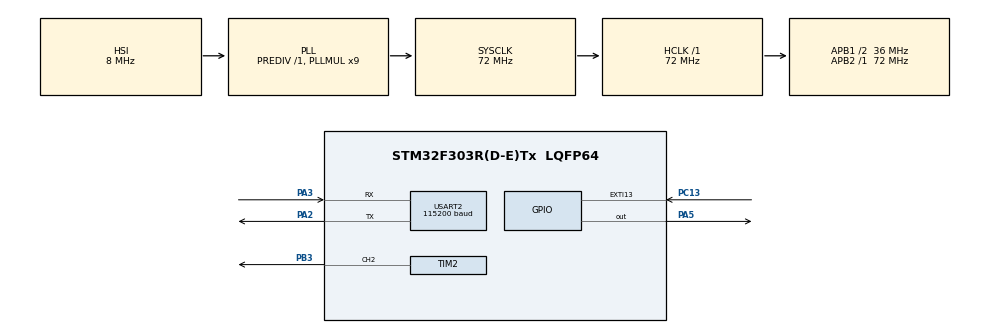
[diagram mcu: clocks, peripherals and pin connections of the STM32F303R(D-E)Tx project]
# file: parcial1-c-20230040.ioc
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Mcu.Family=STM32F3
Mcu.Name=STM32F303R(D-E)Tx
Mcu.Package=LQFP64
NVIC.EXTI15_10_IRQn=true\:0\:0\:false\:false\:true\:true\:true\:true
NVIC.PriorityGroup=NVIC_PRIORITYGROUP_4
NVIC.TIM4_IRQn=true\:0\:0\:false\:false\:true\:true\:true\:true
NVIC.USART2_IRQn=true\:0\:0\:false\:false\:true\:true\:true\:true
PA2.Mode=Asynchronous
PA2.Signal=USART2_TX
PA3.Mode=Asynchronous
PA3.Signal=USART2_RX
PA5.Signal=GPIO_Output
PB3.Signal=S_TIM2_CH2
PC13.GPIO_ModeDefaultEXTI=GPIO_MODE_IT_RISING_FALLING
PC13.Signal=GPXTI13
ProjectManager.HeapSize=0x200
ProjectManager.StackSize=0x400
ProjectManager.TargetToolchain=STM32CubeIDE
RCC.AHBFreq_Value=72000000
RCC.APB1CLKDivider=RCC_HCLK_DIV2
RCC.APB1Freq_Value=36000000
RCC.APB1TimFreq_Value=72000000
RCC.APB2Freq_Value=72000000
RCC.APB2TimFreq_Value=72000000
RCC.CortexFreq_Value=72000000
RCC.HCLKFreq_Value=72000000
RCC.HSE_VALUE=8000000
RCC.HSI_VALUE=8000000
RCC.LSE_VALUE=32768
RCC.PLLMUL=RCC_PLL_MUL9
RCC.SYSCLKFreq_VALUE=72000000
RCC.SYSCLKSourceVirtual=RCC_SYSCLKSOURCE_PLLCLK
RCC.USBFreq_Value=72000000
SH.S_TIM2_CH2.0=TIM2_CH2,PWM Generation2 CH2
TIM2.Channel-PWM\ Generation2\ CH2=TIM_CHANNEL_2
TIM2.Period=999
TIM2.Prescaler=71
TIM2.Pulse-PWM\ Generation2\ CH2=250
TIM4.Period=999
TIM4.Prescaler=71
USART2.BaudRate=115200
USART2.VirtualMode-Asynchronous=VM_ASYNC
VP_TIM2_VS_ClockSourceINT.Mode=Internal
VP_TIM4_VS_ClockSourceINT.Mode=Internal
board=custom

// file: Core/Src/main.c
/* USER CODE BEGIN Header */
/**
 ******************************************************************************
 * @file           : main.c
 * @brief          : Main program body
 ******************************************************************************
 * @attention
 *
 * Copyright (c) 2026 STMicroelectronics.
 * All rights reserved.
 *
 * This software is licensed under terms that can be found in the LICENSE file
 * in the root directory of this software component.
 * If no LICENSE file comes with this software, it is provided AS-IS.
 *
 ******************************************************************************
 */
/* USER CODE END Header */
#include "main.h"

/* USER CODE BEGIN Includes */
#include <stdio.h>
#include <string.h>
/* USER CODE END Includes */

/* USER CODE BEGIN PD */
#define MODO_MANUAL 0
#define MODO_AUTO   1
#define MODO_PAUSA  2

#define RX_TAM    128   // tamano del buffer circular de entrada
#define TX_TAM    512   // tamano del buffer circular de salida
#define LINEA_MAX 63    // maximo de caracteres por linea

// valor con el que arranca g_ms. Para la prueba de desbordamiento
// poner 0xFFFFFF00 (da la vuelta a los 256 ms). Normal = 0
#define G_MS_INICIAL 0
/* USER CODE END PD */

TIM_HandleTypeDef htim2;
TIM_HandleTypeDef htim4;

UART_HandleTypeDef huart2;

/* USER CODE BEGIN PV */
volatile uint32_t g_ms = G_MS_INICIAL;
volatile uint32_t g_flanco = 0;   // la ISR lo pone en 1 cuando el botón cambia

uint32_t boton_estable = 0;       // 1 = presionado, 0 = suelto (ya confirmado)
uint32_t cuenta_cambio = 0; // ms que lleva la lectura distinta del estado confirmado
uint32_t ms_presionado = 0;
uint32_t larga_contada = 0;
uint32_t cont_cortas = 0;
uint32_t cont_largas = 0;

uint32_t modo = MODO_MANUAL;
uint32_t modo_previo = MODO_MANUAL;   // a donde vuelvo al salir de pausa
uint32_t duty_manual = 25;            // ultimo duty manual guardado
uint32_t duty = 25;                   // duty que se esta aplicando
uint32_t subiendo = 1;
uint32_t ms_rampa = 0;
uint32_t ms_led = 0;
uint32_t evento_corta = 0;            // las pone el boton, las consume main
uint32_t evento_larga = 0;

// uart: buffer circular de entrada
uint8_t rx_buf[RX_TAM];
volatile uint32_t rx_head = 0;        // donde escribe la ISR
volatile uint32_t rx_tail = 0;        // donde lee main
uint8_t rx_byte;                      // aqui llega cada caracter
uint32_t rx_total = 0;                // caracteres recibidos
uint32_t rx_errores = 0;              // errores de la uart
uint32_t rx_overflow = 0;             // veces que se lleno el buffer

// uart: buffer circular de salida
uint8_t tx_buf[TX_TAM];
volatile uint32_t tx_head = 0;        // donde escribe main
volatile uint32_t tx_tail = 0;        // donde lee la ISR
volatile uint32_t tx_len = 0;         // tamano del bloque que se esta mandando
volatile uint32_t tx_enviando = 0;    // 1 = hay un bloque saliendo
uint32_t tx_perdidos = 0;             // caracteres descartados por buffer lleno

// uart: linea que se esta armando
char linea[LINEA_MAX + 1];            // +1 para el '\0'
uint32_t linea_len = 0;               // cuantos caracteres lleva
uint32_t descartando = 0;            // 1 = linea muy larga, ignoro hasta el fin
uint32_t err_overflow = 0;            // lineas que se pasaron de 63

// comandos y telemetria
uint32_t stream_activo = 0;           // 1 = manda telemetria cada 1000 ms
uint32_t ms_stream = 0;
uint32_t ms_uptime = 0;
uint32_t uptime_s = 0;                // segundos desde el arranque
/* USER CODE END PV */

void SystemClock_Config(void);
static void MX_GPIO_Init(void);
static void MX_TIM4_Init(void);
static void MX_TIM2_Init(void);
static void MX_USART2_UART_Init(void);
/* USER CODE BEGIN PFP */
void pwm_set_duty(uint32_t duty_pct);
void boton_actualizar(void);
uint32_t tomar_flanco(void);
void cambiar_modo(uint32_t nuevo);
void entrar_pausa(void);
void salir_pausa(void);
uint32_t rx_leer(uint8_t *c);
uint32_t armar_linea(uint8_t c);
void tx_iniciar(void);
void enviar(const char *texto);
void enviar_telemetria(void);
uint32_t leer_numero(const char *s, uint32_t *valor);
void procesar_linea(void);
/* USER CODE END PFP */

int main(void) {

	/* MCU Configuration--------------------------------------------------------*/

	/* Reset of all peripherals, Initializes the Flash interface and the Systick. */
	HAL_Init();

	/* Configure the system clock */
	SystemClock_Config();

	/* Initialize all configured peripherals */
	MX_GPIO_Init();
	MX_TIM4_Init();
	MX_TIM2_Init();
	MX_USART2_UART_Init();
	/* USER CODE BEGIN 2 */
	HAL_TIM_PWM_Start(&htim2, TIM_CHANNEL_2);
	HAL_TIM_Base_Start_IT(&htim4);
	HAL_UART_Receive_IT(&huart2, &rx_byte, 1);   // empieza a escuchar 1 byte

	uint32_t h_tick = g_ms;

	pwm_set_duty(duty);

	enviar("Consola lista. Escribe HELP\r\n");
	/* USER CODE END 2 */

	/* Infinite loop */
	while (1) {

		/* USER CODE BEGIN 3 */

		// Bloque que corre una vez por cada ms
		if ((uint32_t) (g_ms - h_tick) >= 1U) {
			h_tick = h_tick + 1U;

			boton_actualizar();

			// pulsacion corta
			if (evento_corta == 1) {
				evento_corta = 0;
				if (modo == MODO_MANUAL) {
					cambiar_modo(MODO_AUTO);
				} else if (modo == MODO_AUTO) {
					cambiar_modo(MODO_MANUAL);
				}
				// en pausa se ignora
			}

			// pulsacion larga
			if (evento_larga == 1) {
				evento_larga = 0;
				if (modo == MODO_PAUSA) {
					salir_pausa();
				} else {
					entrar_pausa();
				}
			}

			// rampa, solo en AUTO
			if (modo == MODO_AUTO) {
				ms_rampa++;
				if (ms_rampa >= 20) {
					ms_rampa = 0;

					if (subiendo == 1) {
						duty = duty + 1;
						if (duty == 90) {
							subiendo = 0;
						}
					} else {
						duty = duty - 1;
						if (duty == 10) {
							subiendo = 1;
						}
					}
					pwm_set_duty(duty);
				}
			}

			// LED de estado
			ms_led++;
			if (modo == MODO_MANUAL) {
				HAL_GPIO_WritePin(GPIOA, GPIO_PIN_5, GPIO_PIN_SET);
			} else if (modo == MODO_AUTO) {
				if (ms_led >= 500) {
					ms_led = 0;
					HAL_GPIO_TogglePin(GPIOA, GPIO_PIN_5);
				}
			} else {
				if (ms_led >= 125) {
					ms_led = 0;
					HAL_GPIO_TogglePin(GPIOA, GPIO_PIN_5);
				}
			}

			// uptime: sube 1 segundo cada 1000 ms
			ms_uptime++;
			if (ms_uptime >= 1000) {
				ms_uptime = 0;
				uptime_s++;
			}

			// telemetria cada 1000 ms (solo si esta activada)
			ms_stream++;
			if (ms_stream >= 1000) {
				ms_stream = 0;
				if (stream_activo == 1) {
					enviar_telemetria();
				}
			}
		}

		// uart: leer lo que llego y armar lineas
		uint8_t c;
		while (rx_leer(&c) == 1) {
			uint32_t r = armar_linea(c);

			if (r == 1) {
				procesar_linea();   // linea completa: ejecuta el comando
			} else if (r == 2) {
				enviar("ERR OVERFLOW\r\n");
			}
		}
	}
	/* USER CODE END 3 */
}

void SystemClock_Config(void) {
	RCC_OscInitTypeDef RCC_OscInitStruct = { 0 };
	RCC_ClkInitTypeDef RCC_ClkInitStruct = { 0 };
	RCC_PeriphCLKInitTypeDef PeriphClkInit = { 0 };

	/** Initializes the RCC Oscillators according to the specified parameters
	 * in the RCC_OscInitTypeDef structure.
	 */
	RCC_OscInitStruct.OscillatorType = RCC_OSCILLATORTYPE_HSI;
	RCC_OscInitStruct.HSIState = RCC_HSI_ON;
	RCC_OscInitStruct.HSICalibrationValue = RCC_HSICALIBRATION_DEFAULT;
	RCC_OscInitStruct.PLL.PLLState = RCC_PLL_ON;
	RCC_OscInitStruct.PLL.PLLSource = RCC_PLLSOURCE_HSI;
	RCC_OscInitStruct.PLL.PLLMUL = RCC_PLL_MUL9;
	RCC_OscInitStruct.PLL.PREDIV = RCC_PREDIV_DIV1;
	if (HAL_RCC_OscConfig(&RCC_OscInitStruct) != HAL_OK) {
		Error_Handler();
	}

	/** Initializes the CPU, AHB and APB buses clocks
	 */
	RCC_ClkInitStruct.ClockType = RCC_CLOCKTYPE_HCLK | RCC_CLOCKTYPE_SYSCLK
			| RCC_CLOCKTYPE_PCLK1 | RCC_CLOCKTYPE_PCLK2;
	RCC_ClkInitStruct.SYSCLKSource = RCC_SYSCLKSOURCE_PLLCLK;
	RCC_ClkInitStruct.AHBCLKDivider = RCC_SYSCLK_DIV1;
	RCC_ClkInitStruct.APB1CLKDivider = RCC_HCLK_DIV2;
	RCC_ClkInitStruct.APB2CLKDivider = RCC_HCLK_DIV1;

	if (HAL_RCC_ClockConfig(&RCC_ClkInitStruct, FLASH_LATENCY_2) != HAL_OK) {
		Error_Handler();
	}
	PeriphClkInit.PeriphClockSelection = RCC_PERIPHCLK_USART2
			| RCC_PERIPHCLK_TIM2 | RCC_PERIPHCLK_TIM34;
	PeriphClkInit.Usart2ClockSelection = RCC_USART2CLKSOURCE_PCLK1;
	PeriphClkInit.Tim2ClockSelection = RCC_TIM2CLK_HCLK;
	PeriphClkInit.Tim34ClockSelection = RCC_TIM34CLK_HCLK;
	if (HAL_RCCEx_PeriphCLKConfig(&PeriphClkInit) != HAL_OK) {
		Error_Handler();
	}
}

static void MX_TIM2_Init(void) {

	TIM_ClockConfigTypeDef sClockSourceConfig = { 0 };
	TIM_MasterConfigTypeDef sMasterConfig = { 0 };
	TIM_OC_InitTypeDef sConfigOC = { 0 };

	htim2.Instance = TIM2;
	htim2.Init.Prescaler = 71;
	htim2.Init.CounterMode = TIM_COUNTERMODE_UP;
	htim2.Init.Period = 999;
	htim2.Init.ClockDivision = TIM_CLOCKDIVISION_DIV1;
	htim2.Init.AutoReloadPreload = TIM_AUTORELOAD_PRELOAD_DISABLE;
	if (HAL_TIM_Base_Init(&htim2) != HAL_OK) {
		Error_Handler();
	}
	sClockSourceConfig.ClockSource = TIM_CLOCKSOURCE_INTERNAL;
	if (HAL_TIM_ConfigClockSource(&htim2, &sClockSourceConfig) != HAL_OK) {
		Error_Handler();
	}
	if (HAL_TIM_PWM_Init(&htim2) != HAL_OK) {
		Error_Handler();
	}
	sMasterConfig.MasterOutputTrigger = TIM_TRGO_RESET;
	sMasterConfig.MasterSlaveMode = TIM_MASTERSLAVEMODE_DISABLE;
	if (HAL_TIMEx_MasterConfigSynchronization(&htim2, &sMasterConfig)
			!= HAL_OK) {
		Error_Handler();
	}
	sConfigOC.OCMode = TIM_OCMODE_PWM1;
	sConfigOC.Pulse = 250;
	sConfigOC.OCPolarity = TIM_OCPOLARITY_HIGH;
	sConfigOC.OCFastMode = TIM_OCFAST_DISABLE;
	if (HAL_TIM_PWM_ConfigChannel(&htim2, &sConfigOC, TIM_CHANNEL_2)
			!= HAL_OK) {
		Error_Handler();
	}
	HAL_TIM_MspPostInit(&htim2);

}

static void MX_TIM4_Init(void) {

	TIM_ClockConfigTypeDef sClockSourceConfig = { 0 };
	TIM_MasterConfigTypeDef sMasterConfig = { 0 };

	htim4.Instance = TIM4;
	htim4.Init.Prescaler = 71;
	htim4.Init.CounterMode = TIM_COUNTERMODE_UP;
	htim4.Init.Period = 999;
	htim4.Init.ClockDivision = TIM_CLOCKDIVISION_DIV1;
	htim4.Init.AutoReloadPreload = TIM_AUTORELOAD_PRELOAD_DISABLE;
	if (HAL_TIM_Base_Init(&htim4) != HAL_OK) {
		Error_Handler();
	}
	sClockSourceConfig.ClockSource = TIM_CLOCKSOURCE_INTERNAL;
	if (HAL_TIM_ConfigClockSource(&htim4, &sClockSourceConfig) != HAL_OK) {
		Error_Handler();
	}
	sMasterConfig.MasterOutputTrigger = TIM_TRGO_RESET;
	sMasterConfig.MasterSlaveMode = TIM_MASTERSLAVEMODE_DISABLE;
	if (HAL_TIMEx_MasterConfigSynchronization(&htim4, &sMasterConfig)
			!= HAL_OK) {
		Error_Handler();
	}

}

static void MX_USART2_UART_Init(void) {

	huart2.Instance = USART2;
	huart2.Init.BaudRate = 115200;
	huart2.Init.WordLength = UART_WORDLENGTH_8B;
	huart2.Init.StopBits = UART_STOPBITS_1;
	huart2.Init.Parity = UART_PARITY_NONE;
	huart2.Init.Mode = UART_MODE_TX_RX;
	huart2.Init.HwFlowCtl = UART_HWCONTROL_NONE;
	huart2.Init.OverSampling = UART_OVERSAMPLING_16;
	huart2.Init.OneBitSampling = UART_ONE_BIT_SAMPLE_DISABLE;
	huart2.AdvancedInit.AdvFeatureInit = UART_ADVFEATURE_NO_INIT;
	if (HAL_UART_Init(&huart2) != HAL_OK) {
		Error_Handler();
	}

}

static void MX_GPIO_Init(void) {
	GPIO_InitTypeDef GPIO_InitStruct = { 0 };

	/* GPIO Ports Clock Enable */
	__HAL_RCC_GPIOC_CLK_ENABLE();
	__HAL_RCC_GPIOA_CLK_ENABLE();
	__HAL_RCC_GPIOB_CLK_ENABLE();

	/*Configure GPIO pin Output Level */
	HAL_GPIO_WritePin(GPIOA, GPIO_PIN_5, GPIO_PIN_RESET);

	/*Configure GPIO pin : PC13 */
	GPIO_InitStruct.Pin = GPIO_PIN_13;
	GPIO_InitStruct.Mode = GPIO_MODE_IT_RISING_FALLING;
	GPIO_InitStruct.Pull = GPIO_NOPULL;
	HAL_GPIO_Init(GPIOC, &GPIO_InitStruct);

	/*Configure GPIO pin : PA5 */
	GPIO_InitStruct.Pin = GPIO_PIN_5;
	GPIO_InitStruct.Mode = GPIO_MODE_OUTPUT_PP;
	GPIO_InitStruct.Pull = GPIO_NOPULL;
	GPIO_InitStruct.Speed = GPIO_SPEED_FREQ_LOW;
	HAL_GPIO_Init(GPIOA, &GPIO_InitStruct);

	/* EXTI interrupt init*/
	HAL_NVIC_SetPriority(EXTI15_10_IRQn, 0, 0);
	HAL_NVIC_EnableIRQ(EXTI15_10_IRQn);

}

/* USER CODE BEGIN 4 */
// Cambia el brillo del LED. duty_pct es un número de 0 a 100
void pwm_set_duty(uint32_t duty_pct) {

	uint32_t arr = __HAL_TIM_GET_AUTORELOAD(&htim2);

	uint32_t cuentas_totales = arr + 1;

	uint32_t cuentas_en_alto = (duty_pct * cuentas_totales) / 100;

	__HAL_TIM_SET_COMPARE(&htim2, TIM_CHANNEL_2, cuentas_en_alto);
}

// Entra a un modo desde cero (no sirve para salir de pausa)
void cambiar_modo(uint32_t nuevo) {
	modo = nuevo;
	ms_led = 0;

	if (nuevo == MODO_MANUAL) {
		duty = duty_manual;
		pwm_set_duty(duty);
	} else if (nuevo == MODO_AUTO) {
		duty = 10;
		subiendo = 1;
		ms_rampa = 0;
		pwm_set_duty(duty);
	} else {
		pwm_set_duty(0);
	}
}

// Pausa: guarda el modo y apaga el pwm. duty y subiendo no se tocan
void entrar_pausa(void) {
	modo_previo = modo;
	cambiar_modo(MODO_PAUSA);
}

// Sale de pausa sin reiniciar nada (por eso no uso cambiar_modo)
void salir_pausa(void) {
	modo = modo_previo;
	pwm_set_duty(duty);
	ms_led = 0;
}

// ISR del boton
void HAL_GPIO_EXTI_Callback(uint16_t GPIO_Pin) {
	if (GPIO_Pin == GPIO_PIN_13) {
		g_flanco = 1;
	}
}

// Lee la nota y la borra sin que la ISR se meta en medio
uint32_t tomar_flanco(void) {
	__disable_irq();
	uint32_t hubo = g_flanco;
	g_flanco = 0;
	__enable_irq();
	return hubo;
}

// Se llama una vez por ms
void boton_actualizar(void) {
	// 1 = presionado (en el micro presionado lee 0)
	uint32_t lectura = (HAL_GPIO_ReadPin(GPIOC, GPIO_PIN_13) == GPIO_PIN_RESET);

	// Si hubo un flanco, reinicia la espera de 30 ms
	if (tomar_flanco() == 1) {
		cuenta_cambio = 0;
	}

	// Antirrebote
	if (lectura == boton_estable) {
		cuenta_cambio = 0;
	} else {
		cuenta_cambio++;
		if (cuenta_cambio >= 30) {
			cuenta_cambio = 0;
			boton_estable = lectura;

			if (boton_estable == 1)          // pulsacion confirmada
					{
				ms_presionado = 0;
				larga_contada = 0;
			} else if (larga_contada == 0) // pulsacion soltadada confirmada, sin larga previa
					{
				cont_cortas++;
				evento_corta = 1;
			}
		}
	}

	// Pulsacion larga
	if (boton_estable == 1) {
		ms_presionado++;
		if (ms_presionado >= 1500 && larga_contada == 0) {
			larga_contada = 1;
			cont_largas++;
			evento_larga = 1;
		}
	}
}

// Se llama sola cada 1 ms
void HAL_TIM_PeriodElapsedCallback(TIM_HandleTypeDef *htim) {
	if (htim->Instance == TIM4) {
		g_ms = g_ms + 1;
	}
}

// ISR de la uart: llego un byte
void HAL_UART_RxCpltCallback(UART_HandleTypeDef *huart) {
	if (huart->Instance == USART2) {
		uint32_t siguiente = (rx_head + 1) % RX_TAM;

		if (siguiente == rx_tail) {
			rx_overflow++;   // buffer lleno, se pierde el byte
		} else {
			rx_buf[rx_head] = rx_byte;
			rx_head = siguiente;
			rx_total++;
		}
		HAL_UART_Receive_IT(&huart2, &rx_byte, 1);   // listo para el siguiente
	}
}

// Si la uart tiene un error (por ejemplo overrun)
void HAL_UART_ErrorCallback(UART_HandleTypeDef *huart) {
	if (huart->Instance == USART2) {
		rx_errores++;
		HAL_UART_Receive_IT(&huart2, &rx_byte, 1);   // volver a escuchar
	}
}

// ISR de la uart: termino de salir un bloque
void HAL_UART_TxCpltCallback(UART_HandleTypeDef *huart) {
	if (huart->Instance == USART2) {
		tx_tail = (tx_tail + tx_len) % TX_TAM;   // ese bloque ya salio
		tx_enviando = 0;
		tx_iniciar();                            // si queda algo, lo manda
	}
}

// Saca un byte del buffer. Devuelve 1 si habia, 0 si estaba vacio
uint32_t rx_leer(uint8_t *c) {
	if (rx_tail == rx_head) {
		return 0;
	}
	*c = rx_buf[rx_tail];
	rx_tail = (rx_tail + 1) % RX_TAM;
	return 1;
}

// Mete un caracter a la linea.
// Devuelve: 0 = nada, 1 = linea completa, 2 = linea muy larga (overflow)
uint32_t armar_linea(uint8_t c) {
	// fin de linea (CR o LF)
	if (c == '\r' || c == '\n') {
		if (descartando == 1) {
			descartando = 0;
			linea_len = 0;
			err_overflow++;
			return 2;
		}
		if (linea_len > 0) {
			linea[linea_len] = '\0';   // cierra el texto
			linea_len = 0;
			return 1;
		}
		return 0;   // linea vacia: asi CRLF cuenta como una sola orden
	}

	// caracter normal
	if (descartando == 1) {
		return 0;   // la linea se paso, ignoro hasta el fin
	}
	if (linea_len < LINEA_MAX) {
		linea[linea_len] = (char) c;
		linea_len++;
	} else {
		descartando = 1;   // llego el caracter 64
	}
	return 0;
}

// Manda por la uart el bloque que haya en el buffer de salida.
// Solo arranca si no hay otro bloque saliendo.
// (quien la llame desde main debe apagar las interrupciones un instante)
void tx_iniciar(void) {
	if (tx_enviando == 1 || tx_tail == tx_head) {
		return;   // ya hay uno saliendo, o no hay nada que mandar
	}

	uint32_t h = tx_head;
	uint32_t len;
	if (h > tx_tail) {
		len = h - tx_tail;          // todo seguido hasta head
	} else {
		len = TX_TAM - tx_tail; // hasta el final del arreglo (luego da la vuelta)
	}

	tx_len = len;
	tx_enviando = 1;
	if (HAL_UART_Transmit_IT(&huart2, &tx_buf[tx_tail], len) != HAL_OK) {
		tx_enviando = 0; // no pudo arrancar, se reintenta en el siguiente enviar
	}
}

// Manda un texto por la uart SIN esperar: lo copia al buffer y sigue
void enviar(const char *texto) {
	for (uint32_t i = 0; texto[i] != '\0'; i++) {
		uint32_t siguiente = (tx_head + 1) % TX_TAM;

		if (siguiente == tx_tail) {
			tx_perdidos++;   // buffer lleno, descarto lo que sobra
			break;
		}
		tx_buf[tx_head] = (uint8_t) texto[i];
		tx_head = siguiente;
	}

	__disable_irq();
	tx_iniciar();
	__enable_irq();
}

// Arma la linea de telemetria y la manda (se llama cada 1000 ms)
void enviar_telemetria(void) {
	const char *nombre = "MANUAL";
	if (modo == MODO_AUTO) {
		nombre = "AUTO";
	} else if (modo == MODO_PAUSA) {
		nombre = "PAUSA";
	}

	char resp[120];
	snprintf(resp, sizeof(resp),
			"T MODE=%s DUTY=%lu UPTIME=%lu CORTAS=%lu LARGAS=%lu\r\n", nombre,
			(unsigned long) duty, (unsigned long) uptime_s,
			(unsigned long) cont_cortas, (unsigned long) cont_largas);
	enviar(resp);
}

// Revisa que s sea solo digitos y que valga 0..100
// Devuelve: 0 = bien, 1 = no es un numero limpio, 2 = fuera de rango
uint32_t leer_numero(const char *s, uint32_t *valor) {
	if (s[0] == '\0') {
		return 1;   // vacio
	}

	uint32_t v = 0;
	uint32_t muy_grande = 0;

	for (uint32_t i = 0; s[i] != '\0'; i++) {
		if (s[i] < '0' || s[i] > '9') {
			return 1;   // letra, signo menos, etc
		}
		if (muy_grande == 0) {
			v = v * 10 + (s[i] - '0');
			if (v > 100) {
				muy_grande = 1;   // ya no sigo multiplicando para no desbordar
			}
		}
	}

	if (muy_grande == 1) {
		return 2;
	}
	*valor = v;
	return 0;
}

// Ejecuta el comando que esta en linea
void procesar_linea(void) {
	// parte la linea en palabras (ignora espacios al inicio y al final)
	char *cmd = strtok(linea, " \t");
	char *arg = strtok(NULL, " \t");
	char *extra = strtok(NULL, " \t");

	if (cmd == NULL) {
		return;   // solo habia espacios
	}

	if (strcmp(cmd, "HELP") == 0) {
		if (arg != NULL) {
			enviar("ERR ARG\r\n");
		} else {
			enviar("HELP, STATUS, MODE MANUAL, MODE AUTO, DUTY n,\r\n");
			enviar("PAUSE, RESUME, STREAM ON, STREAM OFF\r\n");
			enviar("OK\r\n");
		}
	}

	else if (strcmp(cmd, "STATUS") == 0) {
		if (arg != NULL) {
			enviar("ERR ARG\r\n");
		} else {
			const char *nombre = "MANUAL";
			if (modo == MODO_AUTO) {
				nombre = "AUTO";
			} else if (modo == MODO_PAUSA) {
				nombre = "PAUSA";
			}

			char resp[160];
			snprintf(resp, sizeof(resp),
					"MODE=%s FREQ=1000 DUTY=%lu MANUAL=%lu UPTIME=%lu\r\n",
					nombre, (unsigned long) duty, (unsigned long) duty_manual,
					(unsigned long) uptime_s);
			enviar(resp);

			snprintf(resp, sizeof(resp),
					"CORTAS=%lu LARGAS=%lu ERR_RX=%lu ERR_OVF_RX=%lu ERR_LINEA=%lu ERR_TX=%lu\r\n",
					(unsigned long) cont_cortas, (unsigned long) cont_largas,
					(unsigned long) rx_errores, (unsigned long) rx_overflow,
					(unsigned long) err_overflow, (unsigned long) tx_perdidos);
			enviar(resp);
			enviar("OK\r\n");
		}
	}

	else if (strcmp(cmd, "MODE") == 0) {
		if (arg == NULL || extra != NULL) {
			enviar("ERR ARG\r\n");
		} else if (modo == MODO_PAUSA) {
			enviar("ERR STATE\r\n");
		} else if (strcmp(arg, "MANUAL") == 0) {
			cambiar_modo(MODO_MANUAL);
			enviar("OK\r\n");
		} else if (strcmp(arg, "AUTO") == 0) {
			cambiar_modo(MODO_AUTO);
			enviar("OK\r\n");
		} else {
			enviar("ERR ARG\r\n");
		}
	}

	else if (strcmp(cmd, "DUTY") == 0) {
		if (modo != MODO_MANUAL) {
			enviar("ERR STATE\r\n");   // en AUTO y en PAUSA se rechaza
		} else if (arg == NULL || extra != NULL) {
			enviar("ERR ARG\r\n");
		} else {
			uint32_t n;
			uint32_t r = leer_numero(arg, &n);
			if (r == 1) {
				enviar("ERR ARG\r\n");
			} else if (r == 2) {
				enviar("ERR RANGE\r\n");
			} else {
				duty_manual = n;   // se guarda y se aplica
				duty = n;
				pwm_set_duty(duty);
				enviar("OK\r\n");
			}
		}
	}

	else if (strcmp(cmd, "PAUSE") == 0) {
		if (arg != NULL) {
			enviar("ERR ARG\r\n");
		} else {
			if (modo != MODO_PAUSA) {
				entrar_pausa();   // si ya estaba en pausa no cambia nada
			}
			enviar("OK\r\n");
		}
	}

	else if (strcmp(cmd, "RESUME") == 0) {
		if (arg != NULL) {
			enviar("ERR ARG\r\n");
		} else if (modo != MODO_PAUSA) {
			enviar("ERR STATE\r\n");
		} else {
			salir_pausa();
			enviar("OK\r\n");
		}
	}

	else if (strcmp(cmd, "STREAM") == 0) {
		if (arg == NULL || extra != NULL) {
			enviar("ERR ARG\r\n");
		} else if (strcmp(arg, "ON") == 0) {
			stream_activo = 1;
			enviar("OK\r\n");
		} else if (strcmp(arg, "OFF") == 0) {
			stream_activo = 0;
			enviar("OK\r\n");
		} else {
			enviar("ERR ARG\r\n");
		}
	}

	else {
		enviar("ERR COMMAND\r\n");   // incluye FREQ, que no implementamos
	}
}
/* USER CODE END 4 */

void Error_Handler(void) {
	__disable_irq();
	while (1) {
	}
}
